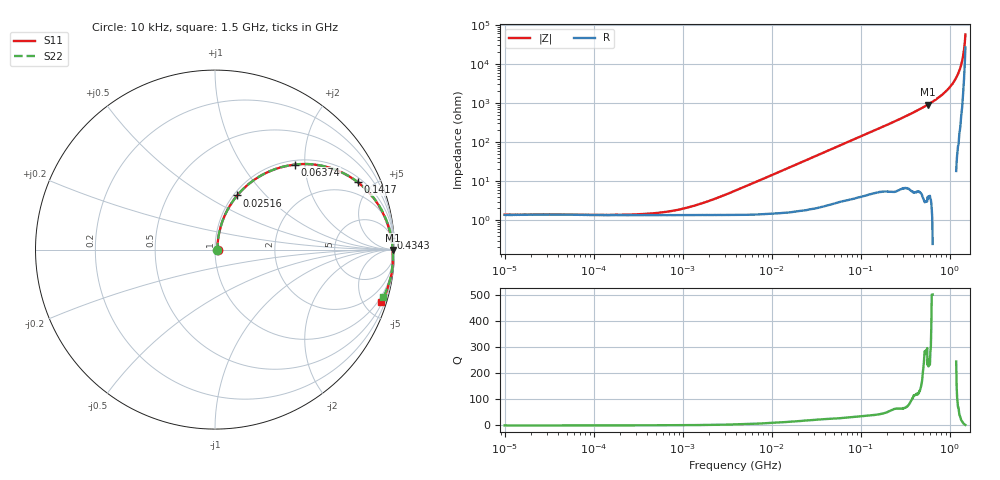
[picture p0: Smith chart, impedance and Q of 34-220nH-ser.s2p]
#  HZ  S  DB  R  50.00
! Rohde & Schwarz Vector Network Analyzer
! Rohde-Schwarz,ZNB8-4Port,1334333044101560,3.32
! Created: UTC 3/21/2023, 5:18:38 PM
! freq[Hz]  db:S11  ang:S11  db:S41  ang:S41  db:S14  ang:S14  db:S44  ang:S44
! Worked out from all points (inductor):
!   1001 points, 10 kHz to 1.5 GHz, reference 50 ohm
!   read as one part in series: L = 225 nH near 2.875 MHz
!   highest Q = 281 at 564.5 MHz (marker M1), where L = 253 nH
!   S11 on the Smith chart (normalised r, x): 10 kHz: 1.03, +0.00; 25.16 MHz: 1.04, +0.70; 63.74 MHz: 1.09, +1.77; 141.7 MHz: 1.24, +4.11; 434.3 MHz: 7, +28; 1.5 GHz: 0.65, -6.42
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10000  -36.90 1.9  -0.12 -0.3  -0.11 -0.3  -37.17 -0.4
21188.18  -38.27 4.8  -0.14 -0.1  -0.13 -0.1  -38.26 4.7
73182.5  -37.44 6.6  -0.12 -0.0  -0.12 -0.0  -37.49 6.4
535567.8  -36.22 29.1  -0.12 -0.4  -0.11 -0.4  -36.22 29.2
1324944  -32.82 52.8  -0.12 -1.1  -0.12 -1.1  -32.81 52.7
3872983  -25.14 72.6  -0.13 -3.1  -0.13 -3.1  -25.13 72.5
1.053992e7  -16.78 75.9  -0.22 -8.4  -0.22 -8.4  -16.78 75.8
2.515892e7  -9.73 67.7  -0.65 -19.3  -0.65 -19.3  -9.73 67.7
2.834346e7  -8.84 65.7  -0.78 -21.5  -0.78 -21.5  -8.83 65.7
6.37422e7  -3.76 46.8  -2.65 -41.2  -2.65 -41.3  -3.76 46.9
9.223291e7  -2.23 36.6  -4.30 -51.7  -4.29 -51.8  -2.23 36.6
1.416528e8  -1.11 25.3  -6.90 -63.3  -6.90 -63.4  -1.12 25.4
2.074245e8  -0.57 16.7  -9.71 -72.2  -9.71 -72.3  -0.57 16.9
4.342879e8  -0.14 3.9  -16.32 -85.4  -16.34 -85.6  -0.14 4.4
5.644842e8  -0.09 -0.1  -19.14 -89.5  -19.18 -89.7  -0.09 0.6
8.66944e8  -0.06 -6.7  -25.23 -96.5  -25.29 -96.8  -0.06 -5.7
1.012232e9  -0.08 -9.4  -28.44 -99.1  -28.52 -99.4  -0.08 -8.1
1.140358e9  -0.11 -11.7  -31.83 -101.1  -31.93 -101.3  -0.09 -10.1
1.239578e9  -0.14 -13.3  -35.07 -101.6  -35.16 -101.9  -0.12 -11.7
1.331467e9  -0.15 -14.8  -39.08 -101.6  -39.17 -101.8  -0.15 -13.2
1.379935e9  -0.17 -15.5  -41.91 -100.8  -42.01 -100.7  -0.17 -13.9
1.5e9  -0.26 -17.5  -55.49 -78.5  -55.55 -79.3  -0.23 -15.6
